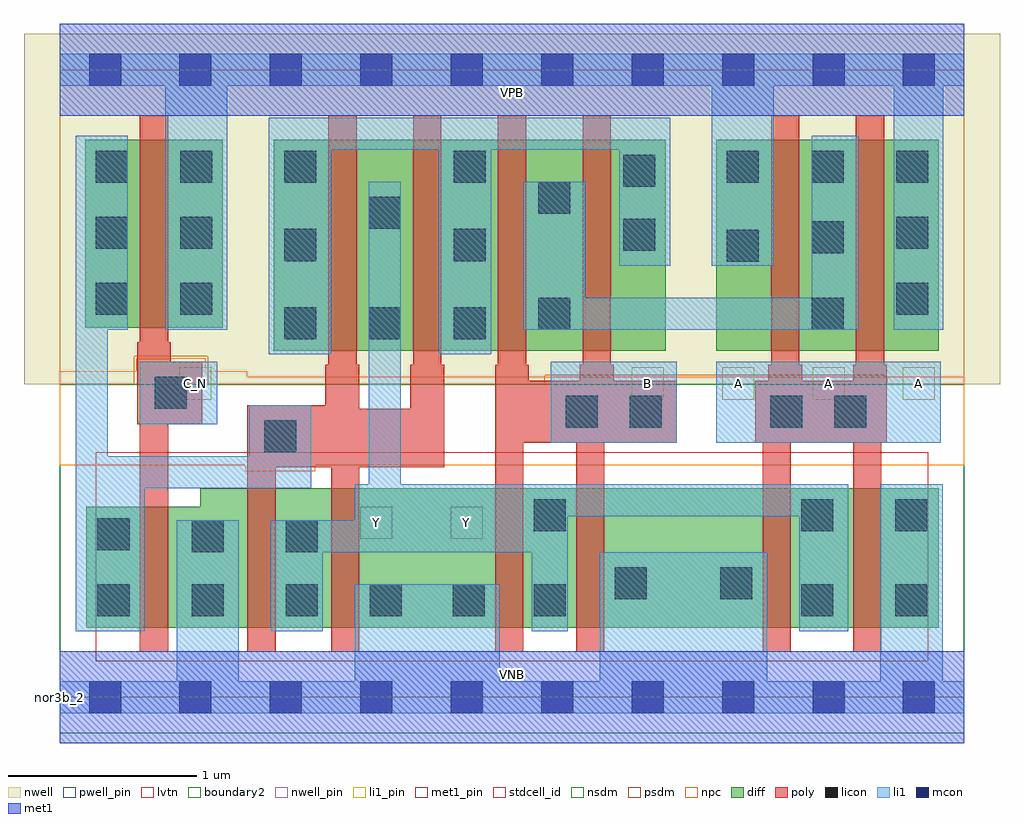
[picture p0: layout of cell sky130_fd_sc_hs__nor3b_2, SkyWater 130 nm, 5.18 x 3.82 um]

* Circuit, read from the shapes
.subckt sky130_fd_sc_hs__nor3b_2 A B C_N VGND VNB VPB VPWR Y
XM1 VGND C_N n1 VNB sky130_fd_pr__nfet_01v8_lvt w=0.64 l=0.15
XM2 Y n1 VGND VNB sky130_fd_pr__nfet_01v8_lvt w=0.74 l=0.15 m=2
XM3 Y B VGND VNB sky130_fd_pr__nfet_01v8_lvt w=0.74 l=0.15 m=2
XM4 Y A VGND VNB sky130_fd_pr__nfet_01v8_lvt w=0.74 l=0.15 m=2
XM5 VPWR C_N n1 VPB sky130_fd_pr__pfet_01v8 w=1 l=0.15
XM6 Y n1 n2 VPB sky130_fd_pr__pfet_01v8 w=1.12 l=0.15 m=2
XM7 n3 B n2 VPB sky130_fd_pr__pfet_01v8 w=1.12 l=0.15 m=2
XM8 n3 A VPWR VPB sky130_fd_pr__pfet_01v8 w=1.12 l=0.15 m=2
.ends

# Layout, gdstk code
import gdstk
lib = gdstk.Library(unit=1e-6, precision=1e-09)
def R(c, l, rs):  # rectangles x0, y0, x1, y1
    for r in rs: c.add(gdstk.rectangle(r[:2], r[2:], *l))
def A(c, l, x, y, w, h, nx, ny, dx, dy):  # array of equal rectangles
    R(c, l, [(x+i*dx, y+j*dy, x+i*dx+w, y+j*dy+h) for i in range(nx) for j in range(ny)])
def P(c, l, *ps):  # polygons
    for p in ps: c.add(gdstk.Polygon(p, *l))
nwell_pin = (64, 16)
nwell = (64, 20)
diff = (65, 20)
poly = (66, 20)
licon = (66, 44)
li1_pin = (67, 16)
li1 = (67, 20)
mcon = (67, 44)
met1_pin = (68, 16)
met1 = (68, 20)
stdcell_id = (81, 4)
nsdm = (93, 44)
psdm = (94, 20)
npc = (95, 20)
pwell_pin = (122, 16)
lvtn = (125, 44)
boundary2 = (236, 0)

sky130_fd_sc_hs__nor3b_2 = lib.new_cell('sky130_fd_sc_hs__nor3b_2')
R(sky130_fd_sc_hs__nor3b_2, nwell_pin, [(0,3.085,4.8,3.33)])
R(sky130_fd_sc_hs__nor3b_2, nwell, [(-0.19,1.66,4.99,3.52)])
R(sky130_fd_sc_hs__nor3b_2, diff, [(1.135,1.84,3.215,2.96), (3.485,1.84,4.665,2.96), (0.135,1.96,0.865,2.96)])
P(sky130_fd_sc_hs__nor3b_2, diff, [(4.665,1.11),(0.745,1.11),(0.745,1.01),(0.14,1.01),(0.14,0.37),(4.665,0.37)])
P(sky130_fd_sc_hs__nor3b_2, poly, [(4.39,1.765),(4.375,1.765),(4.375,3.09),(4.225,3.09),(4.225,1.765),(4.21,1.765),(4.21,1.68),(3.94,1.68),(3.94,1.765),(3.925,1.765),(3.925,3.09),(3.775,3.09),(3.775,1.765),(3.76,1.765),(3.76,1.68),(3.69,1.68),(3.69,1.35),(3.73,1.35),(3.73,0.24),(3.88,0.24),(3.88,1.35),(4.21,1.35),(4.21,0.24),(4.36,0.24),(4.36,1.35),(4.39,1.35)],
  [(3.275,1.68),(2.94,1.68),(2.94,1.765),(2.925,1.765),(2.925,3.09),(2.775,3.09),(2.775,1.765),(2.76,1.765),(2.76,1.68),(2.49,1.68),(2.49,1.765),(2.475,1.765),(2.475,3.09),(2.325,3.09),(2.325,1.765),(2.31,1.765),(2.31,0.24),(2.46,0.24),(2.46,1.35),(2.74,1.35),(2.74,0.24),(2.89,0.24),(2.89,1.35),(3.275,1.35)],
  [(2.04,1.765),(2.025,1.765),(2.025,3.09),(1.875,3.09),(1.875,1.765),(1.86,1.765),(1.86,1.53),(1.59,1.53),(1.59,1.765),(1.575,1.765),(1.575,3.09),(1.425,3.09),(1.425,1.765),(1.41,1.765),(1.41,1.55),(0.995,1.55),(0.995,0.24),(1.145,0.24),(1.145,1.22),(1.44,1.22),(1.44,0.24),(1.59,0.24),(1.59,1.22),(2.04,1.22)],
  [(0.755,1.78),(0.59,1.78),(0.59,1.885),(0.575,1.885),(0.575,3.09),(0.425,3.09),(0.425,1.885),(0.41,1.885),(0.41,1.45),(0.425,1.45),(0.425,0.24),(0.575,0.24),(0.575,1.45),(0.755,1.45)])
A(sky130_fd_sc_hs__nor3b_2, licon, 0.2, 0.43, 0.17, 0.17, 3, 1, 0.5, 0)
A(sky130_fd_sc_hs__nor3b_2, licon, 1.19, 1.9, 0.17, 0.17, 3, 1, 0.45, 0)
A(sky130_fd_sc_hs__nor3b_2, licon, 0.19, 2.03, 0.17, 0.17, 1, 3, 0, 0.35)
A(sky130_fd_sc_hs__nor3b_2, licon, 0.64, 2.03, 0.17, 0.17, 1, 3, 0, 0.35)
A(sky130_fd_sc_hs__nor3b_2, licon, 3.54, 2.73, 0.17, 0.17, 3, 1, 0.45, 0)
R(sky130_fd_sc_hs__nor3b_2, licon, [(1.645,0.43,1.815,0.6), (2.085,0.43,2.255,0.6), (2.515,0.43,2.685,0.6), (3.935,0.43,4.105,0.6), (4.435,0.43,4.605,0.6), (2.945,0.52,3.115,0.69), (3.505,0.52,3.675,0.69), (0.7,0.77,0.87,0.94), (1.2,0.77,1.37,0.94), (0.2,0.78,0.37,0.95), (2.515,0.88,2.685,1.05), (3.935,0.88,4.105,1.05), (4.435,0.88,4.605,1.05), (1.085,1.3,1.255,1.47), (2.685,1.43,2.855,1.6), (3.025,1.43,3.195,1.6), (3.77,1.43,3.94,1.6), (4.11,1.43,4.28,1.6), (0.505,1.53,0.675,1.7), (2.54,1.95,2.71,2.12), (3.99,1.95,4.16,2.12), (4.44,2.03,4.61,2.2), (3.54,2.31,3.71,2.48), (1.19,2.315,1.36,2.485), (2.09,2.315,2.26,2.485), (3.99,2.355,4.16,2.525), (2.99,2.37,3.16,2.54), (4.44,2.38,4.61,2.55), (1.64,2.485,1.81,2.655), (2.54,2.565,2.71,2.735), (2.99,2.71,3.16,2.88), (1.19,2.73,1.36,2.9), (2.09,2.73,2.26,2.9)])
A(sky130_fd_sc_hs__nor3b_2, li1_pin, 3.035, 1.58, 0.17, 0.17, 4, 1, 0.48, 0)
R(sky130_fd_sc_hs__nor3b_2, li1_pin, [(1.595,0.84,1.765,1.01), (2.075,0.84,2.245,1.01), (0.635,1.58,0.805,1.75)])
R(sky130_fd_sc_hs__nor3b_2, li1, [(2.605,1.35,3.275,1.78), (3.485,1.35,4.675,1.78), (0.425,1.45,0.835,1.78)])
P(sky130_fd_sc_hs__nor3b_2, li1, [(1.335,1.55),(1.005,1.55),(1.005,1.28),(0.255,1.28),(0.255,1.95),(0.36,1.95),(0.36,2.98),(0.085,2.98),(0.085,0.35),(0.45,0.35),(0.45,1.11),(1.335,1.11)],
  [(4.8,0.085),(4.685,0.085),(4.685,1.13),(4.355,1.13),(4.355,0.085),(3.755,0.085),(3.755,0.77),(2.865,0.77),(2.865,0.085),(2.335,0.085),(2.335,0.6),(1.565,0.6),(1.565,0.085),(0.95,0.085),(0.95,0.94),(0.62,0.94),(0.62,0.085),(0,0.085),(0,-0.085),(4.8,-0.085)],
  [(3.24,3.075),(1.11,3.075),(1.11,1.82),(1.44,1.82),(1.44,2.905),(2.01,2.905),(2.01,1.82),(2.29,1.82),(2.29,2.905),(2.97,2.905),(2.97,2.29),(3.24,2.29)],
  [(4.24,2.98),(3.99,2.98),(3.99,2.12),(2.79,2.12),(2.79,2.735),(2.46,2.735),(2.46,1.95),(4.24,1.95)],
  [(4.8,3.415),(0,3.415),(0,3.245),(0.56,3.245),(0.56,1.95),(0.89,1.95),(0.89,3.245),(3.46,3.245),(3.46,2.29),(3.79,2.29),(3.79,3.245),(4.425,3.245),(4.425,1.95),(4.69,1.95),(4.69,3.245),(4.8,3.245)],
  [(4.185,1.13),(1.81,1.13),(1.81,2.735),(1.64,2.735),(1.64,1.13),(1.565,1.13),(1.565,0.94),(1.12,0.94),(1.12,0.35),(1.395,0.35),(1.395,0.77),(2.505,0.77),(2.505,0.35),(2.695,0.35),(2.695,0.96),(3.925,0.96),(3.925,0.35),(4.185,0.35)])
A(sky130_fd_sc_hs__nor3b_2, mcon, 0.155, -0.085, 0.17, 0.17, 10, 2, 0.48, 3.33)
R(sky130_fd_sc_hs__nor3b_2, met1_pin, [(0,0,4.8,0.245), (0,3.085,4.8,3.33)])
R(sky130_fd_sc_hs__nor3b_2, met1, [(0,-0.245,4.8,0.245), (0,3.085,4.8,3.575)])
R(sky130_fd_sc_hs__nor3b_2, stdcell_id, [(0,0,4.8,3.33)])
R(sky130_fd_sc_hs__nor3b_2, nsdm, [(0,-0.19,4.8,1.66)])
P(sky130_fd_sc_hs__nor3b_2, psdm, [(4.8,3.52),(0,3.52),(0,1.66),(0.395,1.66),(0.395,1.81),(0.785,1.81),(0.785,1.66),(2.575,1.66),(2.575,1.71),(4.39,1.71),(4.39,1.66),(4.8,1.66)])
P(sky130_fd_sc_hs__nor3b_2, npc, [(4.8,1.7),(0.995,1.7),(0.995,1.73),(0.775,1.73),(0.775,1.8),(0.405,1.8),(0.405,1.73),(0,1.73),(0,1.23),(0.985,1.23),(0.985,1.2),(1.355,1.2),(1.355,1.23),(4.8,1.23)])
R(sky130_fd_sc_hs__nor3b_2, pwell_pin, [(0,0,4.8,0.245)])
R(sky130_fd_sc_hs__nor3b_2, lvtn, [(0.19,0.19,4.61,1.3)])
R(sky130_fd_sc_hs__nor3b_2, boundary2, [(0,0,4.8,3.33)])
sky130_fd_sc_hs__nor3b_2.add(gdstk.Label('nor3b_2', (0,0), layer=83, texttype=44))
sky130_fd_sc_hs__nor3b_2.add(gdstk.Label('VNB', (2.4,0.123), layer=64, texttype=59))
sky130_fd_sc_hs__nor3b_2.add(gdstk.Label('VPB', (2.4,3.208), layer=64, texttype=5))
sky130_fd_sc_hs__nor3b_2.add(gdstk.Label('VPWR', (2.4,3.208), layer=68, texttype=5))
sky130_fd_sc_hs__nor3b_2.add(gdstk.Label('VGND', (2.4,0.123), layer=68, texttype=5))
sky130_fd_sc_hs__nor3b_2.add(gdstk.Label('A', (3.6,1.665), layer=67, texttype=5))
sky130_fd_sc_hs__nor3b_2.add(gdstk.Label('A', (4.08,1.665), layer=67, texttype=5))
sky130_fd_sc_hs__nor3b_2.add(gdstk.Label('A', (4.56,1.665), layer=67, texttype=5))
sky130_fd_sc_hs__nor3b_2.add(gdstk.Label('B', (3.12,1.665), layer=67, texttype=5))
sky130_fd_sc_hs__nor3b_2.add(gdstk.Label('Y', (1.68,0.925), layer=67, texttype=5))
sky130_fd_sc_hs__nor3b_2.add(gdstk.Label('Y', (2.16,0.925), layer=67, texttype=5))
sky130_fd_sc_hs__nor3b_2.add(gdstk.Label('C_N', (0.72,1.665), layer=67, texttype=5))

lib.write_gds('sky130_fd_sc_hs__nor3b_2.gds')
